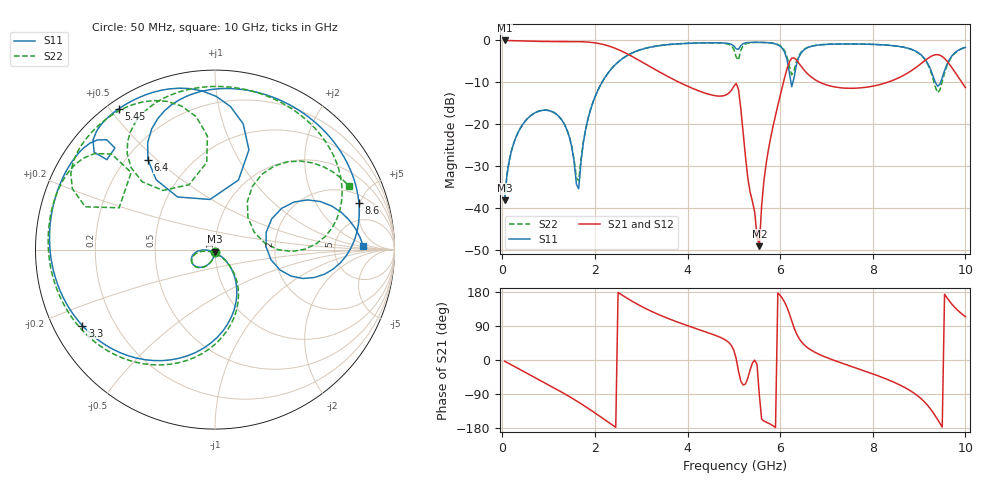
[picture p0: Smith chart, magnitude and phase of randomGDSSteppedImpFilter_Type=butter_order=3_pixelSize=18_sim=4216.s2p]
! freq	dB(S11)	phase(S11)	dB(S12)	phase(S12)
!  dB(S21)	phase(S21)	dB(S22)	phase(S22)
!S-par simulation data
#  GHz  S  DB  R 50
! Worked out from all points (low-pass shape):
!   200 points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, 50 MHz to 10 GHz, reference 50 ohm
!   highest |S21| = 0.00 dB at 50 MHz (marker M1); lowest = -49.0 dB at 5.55 GHz (marker M2)
!   |S21| within 3 dB of the highest: start of sweep to 2.663 GHz
!   lowest |S11| = -38.1 dB at 50 MHz (marker M3), VSWR 1.03, Z = 49.9 - j1.24 ohm
!   |S11| at or under -10 dB: start of sweep to 2.152 GHz; 6.234 GHz to 6.274 GHz (39.7 MHz wide, 0.635 % of centre); 9.351 GHz to 9.464 GHz (112.6 MHz wide, 1.2 % of centre)
!   |S22| runs from -38.1 to -0.5 dB; largest |S21 - S12| = 0
!   S11 on the Smith chart (normalised r, x): 50 MHz: 1.00, -0.02; 3.3 GHz: 0.09, -0.26; 5.45 GHz: 0.03, +0.53; 6.4 GHz: 0.28, +0.47; 8.6 GHz: 2.70, +4.86; 10 GHz: 10, +1
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0.05  -38.10 -92.7  -0.00 -3.2  -0.00 -3.2  -38.09 -92.6
0.25  -24.38 -105.7  -0.06 -16.3  -0.06 -16.3  -24.37 -105.1
0.65  -17.62 -131.3  -0.19 -42.7  -0.19 -42.7  -17.61 -129.9
1.3  -19.23 -171.7  -0.27 -86.0  -0.27 -86.0  -19.19 -167.9
1.65  -35.33 -83.0  -0.29 -111.4  -0.29 -111.4  -33.41 -86.9
1.75  -24.39 -46.2  -0.32 -119.2  -0.32 -119.2  -24.16 -48.1
2.35  -6.85 -84.4  -1.51 -169.3  -1.51 -169.3  -6.83 -81.4
3.3  -1.39 -150.2  -6.93 124.0  -6.93 124.0  -1.38 -144.8
3.4  -1.23 -155.5  -7.55 118.7  -7.55 118.7  -1.22 -149.9
4.5  -0.56 156.7  -12.94 69.6  -12.94 69.6  -0.57 164.3
5.05  -2.00 134.6  -10.24 3.8  -10.24 3.8  -3.95 137.4
5.45  -0.44 124.3  -40.86 -0.2  -40.86 -0.2  -0.48 139.8
5.55  -0.45 119.5  -49.01 -91.3  -49.01 -91.3  -0.46 134.9
5.85  -0.71 102.4  -20.26 -173.8  -20.26 -173.8  -0.66 119.1
6.15  -4.63 71.2  -6.66 138.4  -6.66 138.4  -3.95 93.8
6.25  -11.03 95.7  -4.22 102.9  -4.22 102.9  -8.19 111.8
6.4  -4.08 126.8  -5.36 58.6  -5.36 58.6  -3.69 135.7
6.7  -1.34 103.5  -8.95 23.8  -8.95 23.8  -1.29 117.3
8.35  -1.16 30.5  -9.85 -53.1  -9.85 -53.1  -1.16 50.5
8.6  -1.48 18.0  -8.69 -66.9  -8.69 -66.9  -1.49 38.3
9.45  -10.43 18.7  -3.52 -167.0  -3.52 -167.0  -11.81 44.5
10  -1.65 1.3  -11.22 114.3  -11.22 114.3  -1.67 25.5
